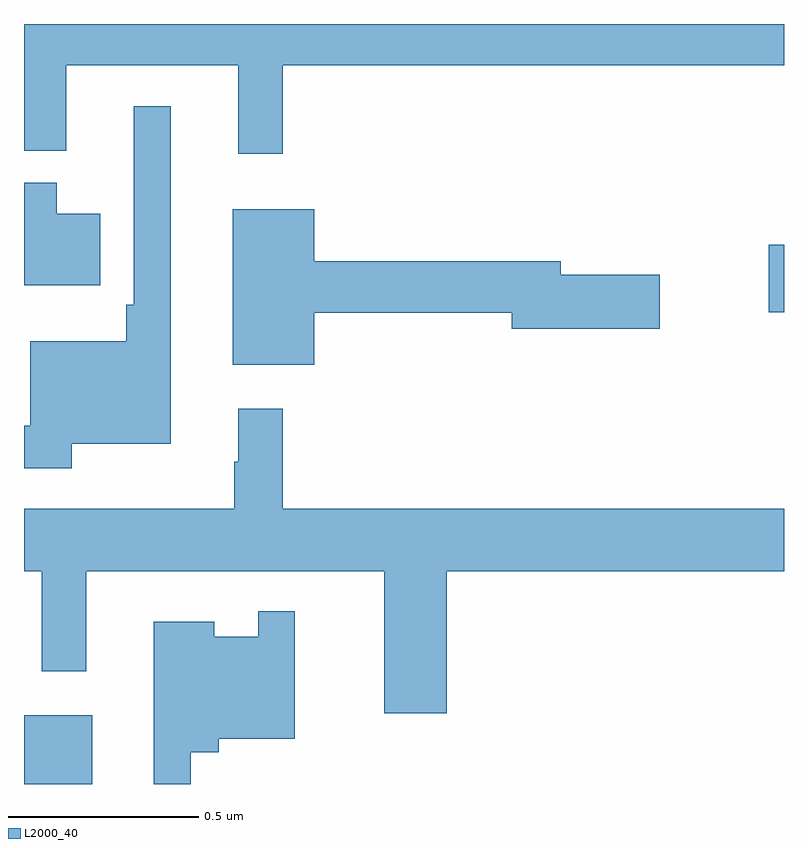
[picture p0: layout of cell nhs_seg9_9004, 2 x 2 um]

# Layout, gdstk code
import gdstk
lib = gdstk.Library(unit=1e-6, precision=1e-09)
def R(c, l, rs):  # rectangles x0, y0, x1, y1
    for r in rs: c.add(gdstk.rectangle(r[:2], r[2:], *l))
def P(c, l, *ps):  # polygons
    for p in ps: c.add(gdstk.Polygon(p, *l))
L2000_40 = (2000, 40)

nhs_seg9_9004 = lib.new_cell('nhs_seg9_9004')
R(nhs_seg9_9004, L2000_40, [(224,1222.5,224.179,1222.681), (225.96,1223.741,226,1223.919)])
P(nhs_seg9_9004, L2000_40, [(224.681,1224.392),(226,1224.392),(226,1224.5),(224,1224.5),(224,1224.167),(224.111,1224.167),(224.111,1224.392),(224.564,1224.392),(224.564,1224.159),(224.681,1224.159)],
  [(224.125,1223.396),(224.386,1223.396),(224.386,1224.283),(224.289,1224.283),(224.289,1223.761),(224.269,1223.761),(224.269,1223.665),(224.016,1223.665),(224.016,1223.443),(224,1223.443),(224,1223.331),(224.125,1223.331)],
  [(224.2,1224.001),(224.086,1224.001),(224.086,1224.082),(224,1224.082),(224,1223.813),(224.2,1223.813)],
  [(224.764,1223.74),(225.284,1223.74),(225.284,1223.698),(225.673,1223.698),(225.673,1223.84),(225.412,1223.84),(225.412,1223.876),(224.764,1223.876),(224.764,1224.013),(224.549,1224.013),(224.549,1223.603),(224.764,1223.603)],
  [(225.112,1223.06),(226,1223.06),(226,1223.224),(224.681,1223.224),(224.681,1223.488),(224.564,1223.488),(224.564,1223.348),(224.553,1223.348),(224.553,1223.224),(224,1223.224),(224,1223.06),(224.047,1223.06),(224.047,1222.797),(224.164,1222.797),(224.164,1223.06),(224.948,1223.06),(224.948,1222.686),(225.112,1222.686)],
  [(224.439,1222.583),(224.513,1222.583),(224.513,1222.619),(224.712,1222.619),(224.712,1222.954),(224.616,1222.954),(224.616,1222.888),(224.5,1222.888),(224.5,1222.927),(224.342,1222.927),(224.342,1222.5),(224.439,1222.5)])

lib.write_gds('nhs_seg9_9004.gds')
